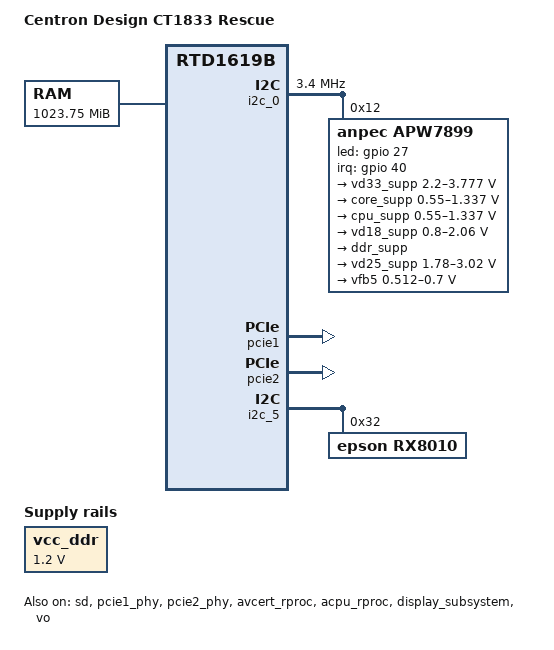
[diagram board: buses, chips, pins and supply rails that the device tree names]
// SPDX-License-Identifier: GPL-2.0
/*
 * Copyright (c) 2019-2021 Realtek Semiconductor Corp.
 */

/dts-v1/;

#include <dt-bindings/regulator/anpec,apw888x.h>
#include "rtd16xxb-rescue.dtsi"

&pinctrl {
	apw7899_int_pins: apw7899-int-pins {
		pins = "gpio_40";
		function = "gpio";
		bias-pull-up;
	};

	apw7899_led_pins: apw7899-led-pins {
		pins = "gpio_27";
		function = "gpio";
	};
};

/ {
	model = "Centron Design CT1833 Rescue";

	memory@40000 {
		device_type = "memory";
		reg = <0x00040000 0x3ffc0000>; /* 1 GiB */
	};

	aliases {
		ethernet = &nic;
	};

	vcc_ddr: vcc1v2-ddr {
		compatible = "regulator-fixed";
		regulator-name = "vcc1v2-ddr";
		regulator-min-microvolt = <1200000>;
		regulator-max-microvolt = <1200000>;
	};
};

&i2c_0 {
	clock-frequency = <3400000>;
	pinctrl-0 = <&i2c_pins_0_HS>;
	status = "okay";

	apw7899: apw7899@12 {
		compatible = "anpec,apw7899";
		reg = <0x12>;

		pinctrl-names = "default";
		pinctrl-0 = <&apw7899_int_pins &apw7899_led_pins>;
		interrupt-parent = <&gpio>;

		/*
		 * gpio_40 is on the PMIC /INT pin: open-drain, active-low,
		 * latched. It drops when the PMIC latches a pwrkey event
		 * and returns high (pull-up above) only after the handler
		 * writes REG00.INT = 0. Falling edge only - one IRQ per
		 * PMIC event (IT, then LP).
		 */
		interrupts = <40 IRQ_TYPE_EDGE_FALLING>;

		/* gpio_27: LED output */
		led-gpios = <&gpio 27 GPIO_ACTIVE_HIGH>;

		regulators {
			compatible = "anpec,apw8886-regulator";

			vd33_supp: dc1 {
				regulator-name = "vd33";
				regulator-min-microvolt = <2200000>;
				regulator-max-microvolt = <3777500>;

				regulator-boot-on;
				regulator-always-on;
				regulator-initial-mode = <APW888X_DC_MODE_AUTO>;
				regulator-state-mem {
					regulator-on-in-suspend;
					regulator-suspend-microvolt = <3300000>;
				};
			};

			core_supp: dc2 {
				regulator-name = "core";
				regulator-min-microvolt = <550000>;
				regulator-max-microvolt = <1337500>;

				regulator-boot-on;
				regulator-always-on;
				regulator-initial-mode = <APW888X_DC_MODE_AUTO>;
				regulator-state-mem {
					regulator-on-in-suspend;
					regulator-suspend-microvolt = <800000>;
				};
			};

			cpu_supp: dc3 {
				regulator-name = "cpudvs";
				regulator-min-microvolt = <550000>;
				regulator-max-microvolt = <1337500>;

				regulator-boot-on;
				regulator-always-on;
				regulator-initial-mode = <APW888X_DC_MODE_AUTO>;
				regulator-ramp-delay = <625>;
				apw888x-disabled-in-shutdown;

				regulator-state-mem {
					regulator-off-in-suspend;
					regulator-changeable-in-suspend;
				};
			};

			vd18_supp: dc4 {
				regulator-name = "vd18";
				regulator-min-microvolt = <800000>;
				regulator-max-microvolt = <2060000>;

				regulator-boot-on;
				regulator-always-on;
				regulator-initial-mode = <APW888X_DC_MODE_AUTO>;
				regulator-state-mem {
					regulator-on-in-suspend;
				};
			};

			ddr_supp: dc5 {
				regulator-name = "ddr";
				regulator-boot-on;
				regulator-always-on;
				regulator-initial-mode = <APW888X_DC_MODE_AUTO>;
				vin-supply = <&vcc_ddr>;
				apw888x-disabled-in-shutdown;

				regulator-state-mem {
					regulator-on-in-suspend;
				};
			};

			vd25_supp: ldo1 {
				regulator-name = "vd25";
				regulator-min-microvolt = <1780000>;
				regulator-max-microvolt = <3020000>;

				regulator-boot-on;
				regulator-always-on;
				regulator-initial-mode = <APW888X_LDO_MODE_NORMAL>;
				regulator-state-mem {
					regulator-on-in-suspend;
				};
			};

			vfb5 {
				regulator-name = "vfb5";
				regulator-min-microvolt = <512500>;
				regulator-max-microvolt = <700000>;

				regulator-boot-on;
				regulator-always-on;
				regulator-state-mem {
					regulator-on-in-suspend;
				};
			};
		};
	};
};

&sd {
	status = "okay";
};

&pcie1 {
	status = "okay";
	perst-gpios = <&gpio 14 GPIO_ACTIVE_HIGH>;
};

&pcie1_phy {
	status = "okay";
};

&pcie2 {
	status = "okay";
	perst-gpios = <&gpio 45 GPIO_ACTIVE_HIGH>;
};

&pcie2_phy {
	status = "okay";
};

&sata_phy {
	status = "disabled";
};

&sata_phy0 {
	status = "disabled";
};

&sata_phy1 {
	status = "disabled";
};

&ahci_sata {
	hostinit-mode = <0>;
	status = "disabled";
};

&sata_port0 {
	status = "disabled";
};

&sata_port1 {
	status = "disabled";
};

&usb_port0 {
	realtek,power-gpio = <&gpio 44 GPIO_ACTIVE_HIGH>;
};

&usb_port1 {
	/delete-property/realtek,power-gpio;
};

&usb_port2 {
	/delete-property/realtek,power-gpio;
};

&i2c_5 {
	status = "okay";

	rx8010: rtc@32 {
		compatible = "epson,rx8010";
		reg = <0x32>;
	};
};

&avcert_rproc {
	status = "okay";
};

&acpu_rproc {
	firmware-name = "bluecore.audio.enc.A00-stark-noaudio-nonsecure-0112";
	status = "okay";
};

&display_subsystem {
	ports = <&vo_out>;
	status = "okay";
};

&vowb {
        status = "disabled";
};

&vo {
	status = "okay";
	compatible = "realtek,rtd-crtc-main-all";
};

&voext {
	status = "disabled";
};

&hdmi {
	ext-flags = <0x1>;
};

&sb2 {
	acpu-rpmsg {
		rproc = <&acpu_rproc>;
		status = "okay";
	};

	vcpu-rpmsg {
		status = "disabled";
	};

	hifi-rpmsg {
		status = "disabled";
	};

	ve3-rpmsg {
		status = "disabled";
	};

};

&reserved_memory {
	protected-mem@50000 {
		status = "okay";
	};

	metadata@c40000 {
		status = "disabled";
	};

	tee@10000000 {
		status = "disabled";
	};

	buffer@2F700000 {
		status = "disabled";
	};

	cma_reserved_0:linux,default_cma {
		compatible = "shared-dma-pool";
		size = <0x10000000>;            /* 256M */
		alignment = <0x00400000>;
		alloc-ranges=<0x30000000 0x10000000>;
		linux,cma-default;
		reusable;
	};

	/delete-node/tp_ssc2;
	/delete-node/audio_ssc1;
	/delete-node/video_dsc5;
	/delete-node/ao_ssc6;
	/delete-node/ota_dsc8;
	/delete-node/fwstack_ssc4;
	/delete-node/hifi_b1p5;
	/delete-node/vo_s_dsc3;
	/delete-node/npp;
	/delete-node/npu-inference;
	/delete-node/npu-model;
	/delete-node/vo_dsc3;

	cma_reserved_2:vo_dsc3 {
		compatible = "shared-dma-pool";
		size = <0x8000000>;            /* 128M */
		alignment = <0x00400000>;
		/* Avoid crossing A/VCPU PA2VA per 512M boundary */
		/* Avoid allocating 0x1fc00000 ~ 0x1fc00fff to LX CPU (A/VCPU/VE3) */
		alloc-ranges=<0x28000000 0x8000000>;
		reusable;
	};

	cma_reserved_3:vo5 {
		compatible = "shared-dma-pool";
		size = <0x20000000>;            /* 512M */
		alignment = <0x00400000>;
		/* Avoid crossing A/VCPU PA2VA per 512M boundary */
		/* Avoid allocating 0x1fc00000 ~ 0x1fc00fff to LX CPU (A/VCPU/VE3) */
		alloc-ranges=<0x40000000 0x20000000>;
		reusable;
	};
};
